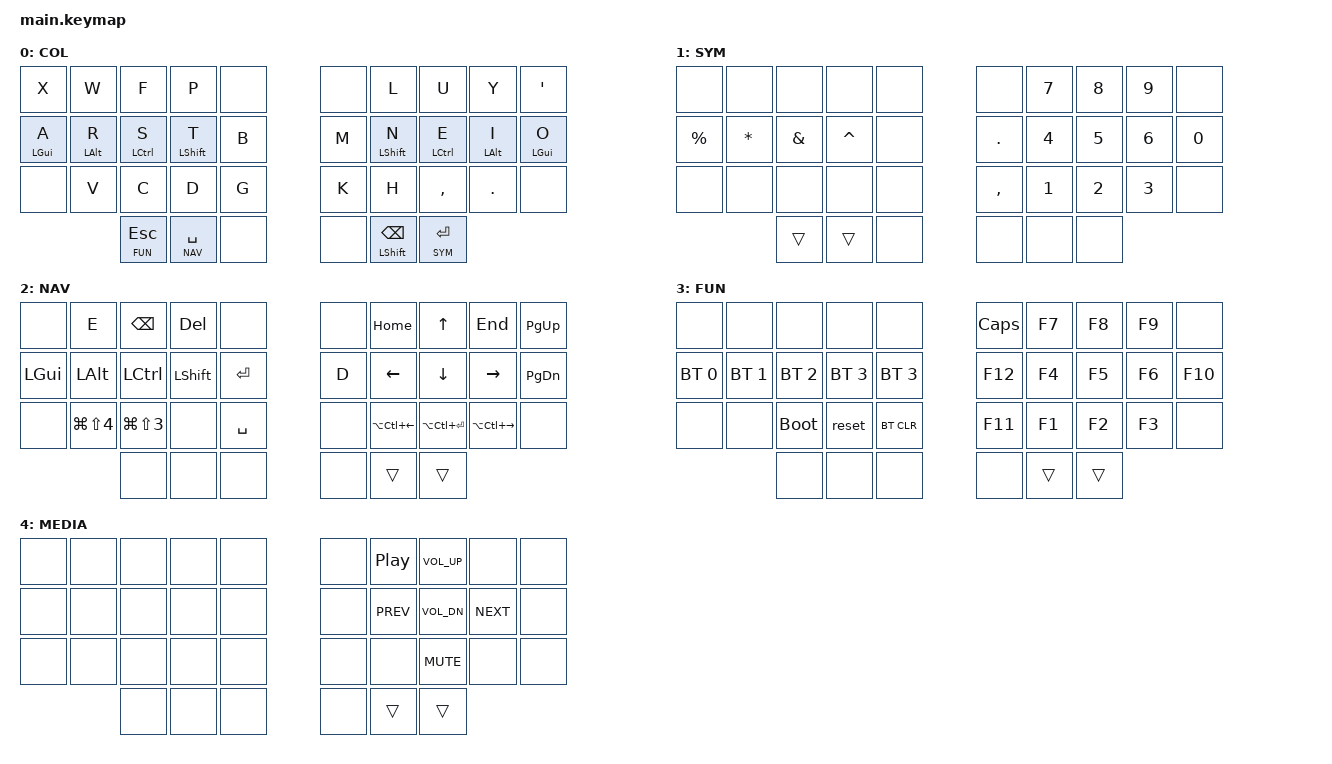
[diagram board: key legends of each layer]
#include <behaviors.dtsi>
#include <dt-bindings/zmk/keys.h>
#include <dt-bindings/zmk/bt.h>
#include <dt-bindings/zmk/outputs.h>

// Layer aliases
#define COL 0
#define SYM 1
#define NAV 2
#define FUN 3
#define MED 4

// Desktop and tab navigation shortcuts
#define SS_TARGETED &kp LG(LS(N4))
#define SS_FULL     &kp LG(LS(N3))
#define WIN_LEFT    &kp LA(LC(LEFT))
#define WIN_RIGHT   &kp LA(LC(RIGHT))
#define WIN_FULL    &kp LA(LC(RET))
#define U_RDO       &kp LS(LG(Z))
#define U_PST       &kp LG(V)
#define U_CPY       &kp LG(C)
#define U_CUT       &kp LG(X)
#define U_UND       &kp LG(Z)

#include "combos.dtsi"

#define TAPPING_TERM 200

&mt {
    flavor = "hold-preferred";
    tapping-term-ms = <TAPPING_TERM>;
};

&lt {
    flavor = "balanced";
    tapping-term-ms = <TAPPING_TERM>;
};

&caps_word {
    continue-list = <BACKSPACE UNDERSCORE MINUS N1 N2 N3 N4 N5 N6 N7 N8 N9 N0>;
};

/ {
    conditional_layers {
        compatible = "zmk,conditional-layers";
        tri_layer {
            if-layers = <1 3>;
            then-layer = <4>;
        };
    };
};

/ {
    behaviors {
        hm: homerow_mods {
            compatible = "zmk,behavior-hold-tap";
            label = "HOMEROW_MODS";
            #binding-cells = <2>;
            tapping_term_ms = <TAPPING_TERM>;
            flavor = "tap-preferred";
            bindings = <&kp>, <&kp>;
        };
    };

    keymap {
        compatible = "zmk,keymap";

        colemak_layer {
            label = "COL";
            bindings = <
// ╭─────────────┬─────────────┬─────────────┬─────────────┬─────────────╮   ╭─────────────┬─────────────┬─────────────┬─────────────┬─────────────╮
     &kp X         &kp W         &kp F         &kp P         &none             &none         &kp L         &kp U         &kp Y         &kp SQT
// ├─────────────┼─────────────┼─────────────┼─────────────┼─────────────┤   ├─────────────┼─────────────┼─────────────┼─────────────┼─────────────┤
     &hm LGUI A    &hm LALT R    &hm LCTRL S   &hm LSHFT T   &kp B             &kp M         &hm LSHFT N   &hm LCTRL E   &hm LALT I    &hm LGUI O
// ├─────────────┼─────────────┼─────────────┼─────────────┼─────────────┤   ├─────────────┼─────────────┼─────────────┼─────────────┼─────────────┤
     &none         &kp V         &kp C         &kp D         &kp G             &kp K         &kp H         &kp COMMA     &kp DOT       &none
// ╰─────────────┴─────────────┴─────────────┼─────────────┼─────────────┤   ├─────────────┼─────────────┼─────────────┴─────────────┴─────────────╯
                                 &lt FUN ESC   &lt NAV SPC   &none             &none       &mt LSHIFT BSPC &lt SYM RET 
//                             ╰─────────────┴─────────────┴─────────────╯   ╰─────────────┴─────────────┴─────────────╯
            >;
        };
        
        symbol_layer {
            label = "SYM";
            bindings = <
// ╭─────────────┬─────────────┬─────────────┬─────────────┬─────────────╮   ╭─────────────┬─────────────┬─────────────┬─────────────┬─────────────╮
     &none         &none         &none         &none         &none             &none         &kp N7        &kp N8        &kp N9        &none
// ├─────────────┼─────────────┼─────────────┼─────────────┼─────────────┤   ├─────────────┼─────────────┼─────────────┼─────────────┼─────────────┤
     &kp PRCNT     &kp STAR      &kp AMPS      &kp CARET     &none             &kp DOT       &kp N4        &kp N5        &kp N6        &kp N0
// ├─────────────┼─────────────┼─────────────┼─────────────┼─────────────┤   ├─────────────┼─────────────┼─────────────┼─────────────┼─────────────┤
     &none         &none         &none          &none        &none             &kp COMMA     &kp N1        &kp N2        &kp N3        &none
// ╰─────────────┴─────────────┴─────────────┼─────────────┼─────────────┤   ├─────────────┼─────────────┼─────────────┴─────────────┴─────────────╯
                                 &trans         &trans       &none             &none         &none         &none
//                             ╰─────────────┴─────────────┴─────────────╯   ╰─────────────┴─────────────┴─────────────╯
            >;
        };

        nav_layer {
            label = "NAV";
            bindings = <
// ╭─────────────┬─────────────┬─────────────┬─────────────┬─────────────╮   ╭─────────────┬─────────────┬─────────────┬─────────────┬─────────────╮
     &none         &kp E         &kp BSPC     &kp DEL        &none             &none         &kp HOME      &kp UP        &kp END       &kp PG_UP
// ├─────────────┼─────────────┼─────────────┼─────────────┼─────────────┤   ├─────────────┼─────────────┼─────────────┼─────────────┼─────────────┤
     &kp LGUI      &kp LALT      &kp LCTRL    &kp LSHFT      &kp RET           &kp D         &kp LEFT      &kp DOWN      &kp RIGHT     &kp PG_DN         
// ├─────────────┼─────────────┼─────────────┼─────────────┼─────────────┤   ├─────────────┼─────────────┼─────────────┼─────────────┼─────────────┤
     &none         SS_TARGETED   SS_FULL      &none          &kp SPACE         &none         WIN_LEFT      WIN_FULL      WIN_RIGHT     &none             
// ╰─────────────┴─────────────┴─────────────┼─────────────┼─────────────┤   ├─────────────┼─────────────┼─────────────┴─────────────┴─────────────╯
                                 &none        &none          &none             &none         &trans        &trans
//                             ╰─────────────┴─────────────┴─────────────╯   ╰─────────────┴─────────────┴─────────────╯
            >;
        };

        function_layer {
            label = "FUN";
            bindings = <
// ╭─────────────┬─────────────┬─────────────┬─────────────┬─────────────╮   ╭─────────────┬─────────────┬─────────────┬─────────────┬─────────────╮
     &none         &none         &none         &none         &none              &kp CAPS      &kp F7        &kp F8        &kp F9        &none
// ├─────────────┼─────────────┼─────────────┼─────────────┼─────────────┤   ├─────────────┼─────────────┼─────────────┼─────────────┼─────────────┤
     &bt BT_SEL 0  &bt BT_SEL 1  &bt BT_SEL 2  &bt BT_SEL 3  &bt BT_SEL 3       &kp F12       &kp F4        &kp F5        &kp F6        &kp F10
// ├─────────────┼─────────────┼─────────────┼─────────────┼─────────────┤   ├─────────────┼─────────────┼─────────────┼─────────────┼─────────────┤
     &none         &none         &bootloader   &reset        &bt BT_CLR         &kp F11       &kp F1        &kp F2        &kp F3        &none
// ├─────────────┼─────────────┼─────────────┴─────────────┴─────────────╯   ├─────────────┼─────────────┼─────────────┴─────────────┴─────────────╯
                                 &none         &none         &none              &none         &trans        &trans
//                             ╰─────────────┴─────────────┴─────────────╯   ╰─────────────┴─────────────┴─────────────╯
            >;
        };
       
        media_layer {
            label = "MEDIA";
            bindings = <
// ╭─────────────┬─────────────┬─────────────┬─────────────┬─────────────╮   ╭─────────────┬─────────────┬─────────────┬─────────────┬─────────────╮
     &none         &none         &none         &none         &none              &none         &kp C_PP      &kp C_VOL_UP  &none        &none
// ├─────────────┼─────────────┼─────────────┼─────────────┼─────────────┤   ├─────────────┼─────────────┼─────────────┼─────────────┼─────────────┤
     &none         &none         &none         &none         &none              &none         &kp C_PREV    &kp C_VOL_DN  &kp C_NEXT   &none
// ├─────────────┼─────────────┼─────────────┼─────────────┼─────────────┤   ├─────────────┼─────────────┼─────────────┼─────────────┼─────────────┤
     &none         &none         &none         &none         &none              &none         &none         &kp C_MUTE    &none        &none
// ├─────────────┼─────────────┼─────────────┴─────────────┴─────────────╯   ├─────────────┼─────────────┼─────────────┴─────────────┴─────────────╯
                                 &none         &none         &none              &none         &trans        &trans
//                             ╰─────────────┴─────────────┴─────────────╯   ╰─────────────┴─────────────┴─────────────╯
            >;
        };
    };
};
